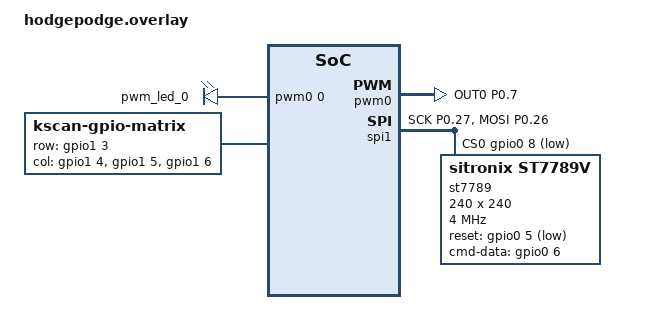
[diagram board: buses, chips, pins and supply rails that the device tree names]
/* nrf52840dk_nrf52840.overlay */
#include <dt-bindings/zmk/matrix_transform.h>
#include <dt-bindings/pinctrl/nrf-pinctrl.h>
#include <dt-bindings/pwm/pwm.h>

/ {
	chosen {
		zmk,kscan = &kscan0;
		zmk,matrix_transform = &default_transform;
		zmk,display = &st7789;
		zephyr,display = &st7789;
		zmk,backlight = &backlight;
	};
	
	backlight: pwmleds {
		compatible = "pwm-leds";
		pwm_led_0: pwm_led_0 {
			pwms = <&pwm0 0 PWM_MSEC(10) PWM_POLARITY_NORMAL>;
		};
	};
	
	default_transform: keymap_transform_0 {
		compatible = "zmk,matrix-transform";
		columns = <3>;
		rows = <1>;
		map = <RC(0,0) RC(0,1) RC(0,2)>;
	};
	
	kscan0: kscan_0 {
		compatible = "zmk,kscan-gpio-matrix";
		label = "KSCAN";
		diode-direction = "col2row";
		row-gpios = <&gpio1 3 (GPIO_ACTIVE_HIGH | GPIO_PULL_DOWN)>;
		col-gpios
		= <&gpio1 4 GPIO_ACTIVE_HIGH>
		, <&gpio1 5 GPIO_ACTIVE_HIGH>
		, <&gpio1 6 GPIO_ACTIVE_HIGH>;
	};
};

&pinctrl {
	spi1_default: spi1_default {
		group1 {
			psels = <NRF_PSEL(SPIM_SCK, 0, 27)>,
			<NRF_PSEL(SPIM_MOSI, 0, 26)>;
		};
	};
	
	spi1_sleep: spi1_sleep {
		group1 {
			psels = <NRF_PSEL(SPIM_SCK, 0, 27)>,
			<NRF_PSEL(SPIM_MOSI, 0, 26)>;
			low-power-enable;
		};
	};
	
	pwm0_default: pwm0_default {
	group1 { psels = <NRF_PSEL(PWM_OUT0, 0, 7)>; };
	};
	
	pwm0_sleep: pwm0_sleep {
	group1 { psels = <NRF_PSEL(PWM_OUT0, 0, 7)>; low-power-enable; };
	};
};

&pwm0 {
	status = "okay";
	pinctrl-0 = <&pwm0_default>;
	pinctrl-1 = <&pwm0_sleep>;
	pinctrl-names = "default", "sleep";
};

&spi1 {
	compatible = "nordic,nrf-spim";
	status = "okay";
	pinctrl-0 = <&spi1_default>;
	pinctrl-1 = <&spi1_sleep>;
	pinctrl-names = "default", "sleep";
	
	cs-gpios = <&gpio0 8 GPIO_ACTIVE_LOW>;
	
	st7789: st7789v@0 {
		compatible = "sitronix,st7789v";
		status = "okay";
		spi-max-frequency = <4000000>;
		reg = <0>;
		
		width = <240>;
		height = <240>;
		x-offset = <0>;
		y-offset = <80>;
		
		reset-gpios = <&gpio0 5 GPIO_ACTIVE_LOW>;
		cmd-data-gpios = <&gpio0 6 GPIO_ACTIVE_HIGH>;
		
		/* --- OBLIGATORISKA (Vi behåller dessa!) --- */
		gctrl = <0x35>;
		vcom = <0x19>;
		vrhs = <0x12>;
		vdv = <0x20>;
		lcm = <0x2c>;
		mdac = <0x00>;
		gamma = <0x01>;
		colmod = <0x55>;
		
		/* --- FRIVILLIGA (Borttagna) --- */
		/* porch-param, cmd2en-param osv är borta för att inte förvirra displayen */
	};
};
